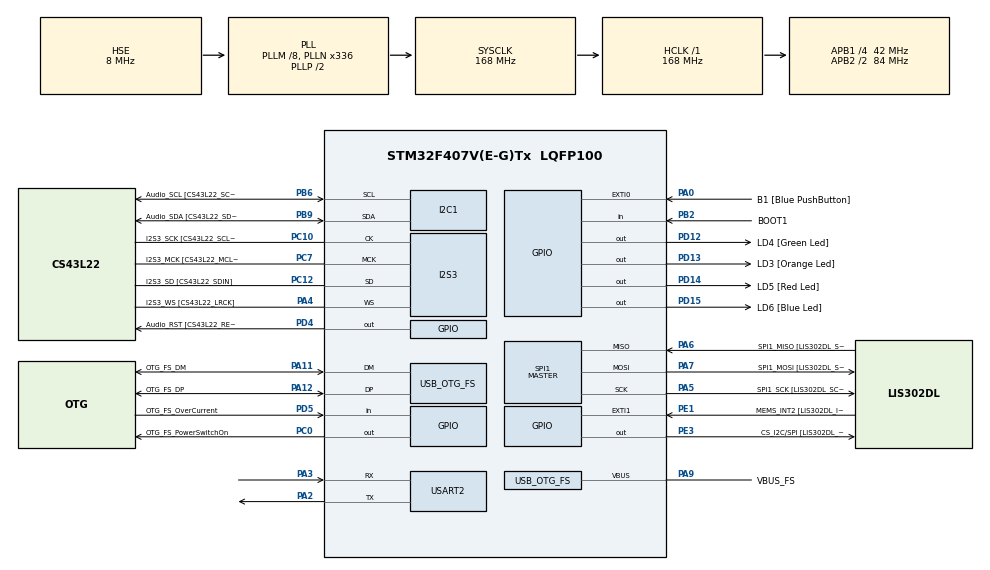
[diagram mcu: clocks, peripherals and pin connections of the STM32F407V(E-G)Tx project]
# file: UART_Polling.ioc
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I2S3.AudioFreq-Half_Duplex_Master=I2S_AUDIOFREQ_96K
I2S3.ErrorAudioFreq=-2.34 %
I2S3.ErrorAudioFreq-Half_Duplex_Master=0.8 %
I2S3.FullDuplexMode=I2S_FULLDUPLEXMODE_DISABLE
I2S3.Instance=SPI$Index
I2S3.RealAudioFreq=93.75 KHz
I2S3.RealAudioFreq-Half_Duplex_Master=96.774 KHz
I2S3.VirtualMode=I2S_MODE_MASTER
Mcu.Family=STM32F4
Mcu.Name=STM32F407V(E-G)Tx
Mcu.Package=LQFP100
NVIC.OTG_FS_IRQn=true\:0\:0\:false\:false\:true\:true\:true
NVIC.PriorityGroup=NVIC_PRIORITYGROUP_0
PA0-WKUP.GPIO_Label=B1 [Blue PushButton]
PA0-WKUP.GPIO_ModeDefaultEXTI=GPIO_MODE_EVT_RISING
PA0-WKUP.GPIO_PuPd=GPIO_NOPULL
PA0-WKUP.Signal=GPXTI0
PA10.GPIO_Label=OTG_FS_ID
PA10.GPIO_Mode=GPIO_MODE_AF_PP
PA10.GPIO_PuPd=GPIO_NOPULL
PA10.GPIO_Speed=GPIO_SPEED_FREQ_LOW
PA10.Signal=USB_OTG_FS_ID
PA11.GPIO_Label=OTG_FS_DM
PA11.GPIO_Mode=GPIO_MODE_AF_PP
PA11.GPIO_PuPd=GPIO_NOPULL
PA11.GPIO_Speed=GPIO_SPEED_FREQ_LOW
PA11.Mode=Host_Only
PA11.Signal=USB_OTG_FS_DM
PA12.GPIO_Label=OTG_FS_DP
PA12.GPIO_Mode=GPIO_MODE_AF_PP
PA12.GPIO_PuPd=GPIO_NOPULL
PA12.GPIO_Speed=GPIO_SPEED_FREQ_LOW
PA12.Mode=Host_Only
PA12.Signal=USB_OTG_FS_DP
PA13.GPIO_Label=SWDIO
PA13.Mode=Serial_Wire
PA13.Signal=SYS_JTMS-SWDIO
PA14.GPIO_Label=SWCLK
PA14.Mode=Serial_Wire
PA14.Signal=SYS_JTCK-SWCLK
PA2.Mode=Asynchronous
PA2.Signal=USART2_TX
PA3.Mode=Asynchronous
PA3.Signal=USART2_RX
PA4.GPIO_Label=I2S3_WS [CS43L22_LRCK]
PA4.GPIO_Mode=GPIO_MODE_AF_PP
PA4.GPIO_PuPd=GPIO_NOPULL
PA4.GPIO_Speed=GPIO_SPEED_FREQ_LOW
PA4.Mode=Half_Duplex_Master
PA4.Signal=I2S3_WS
PA5.GPIO_Label=SPI1_SCK [LIS302DL_SCL/SPC]
PA5.GPIO_Mode=GPIO_MODE_AF_PP
PA5.GPIO_PuPd=GPIO_NOPULL
PA5.GPIO_Speed=GPIO_SPEED_FREQ_LOW
PA5.Mode=Full_Duplex_Master
PA5.Signal=SPI1_SCK
PA6.GPIO_Label=SPI1_MISO [LIS302DL_SDO]
PA6.GPIO_Mode=GPIO_MODE_AF_PP
PA6.GPIO_PuPd=GPIO_NOPULL
PA6.GPIO_Speed=GPIO_SPEED_FREQ_LOW
PA6.Mode=Full_Duplex_Master
PA6.Signal=SPI1_MISO
PA7.GPIO_Label=SPI1_MOSI [LIS302DL_SDA/SDI/SDO]
PA7.GPIO_Mode=GPIO_MODE_AF_PP
PA7.GPIO_PuPd=GPIO_NOPULL
PA7.GPIO_Speed=GPIO_SPEED_FREQ_LOW
PA7.Mode=Full_Duplex_Master
PA7.Signal=SPI1_MOSI
PA9.GPIO_Label=VBUS_FS
PA9.GPIO_Mode=GPIO_MODE_INPUT
PA9.GPIO_PuPd=GPIO_NOPULL
PA9.Mode=Activate_VBUS
PA9.Signal=USB_OTG_FS_VBUS
PB10.GPIO_Label=CLK_IN [MP45DT02_CLK]
PB10.GPIO_Mode=GPIO_MODE_AF_PP
PB10.GPIO_PuPd=GPIO_NOPULL
PB10.GPIO_Speed=GPIO_SPEED_FREQ_LOW
PB10.Signal=I2S2_CK
PB2.GPIO_Label=BOOT1
PB2.GPIO_Mode=GPIO_MODE_INPUT
PB2.GPIO_PuPd=GPIO_NOPULL
PB2.Signal=GPIO_Input
PB3.GPIO_Label=SWO
PB3.Signal=SYS_JTDO-SWO
PB6.GPIO_Label=Audio_SCL [CS43L22_SCL]
PB6.GPIO_Mode=GPIO_MODE_AF_OD
PB6.GPIO_PuPd=GPIO_NOPULL
PB6.GPIO_Speed=GPIO_SPEED_FREQ_LOW
PB6.Mode=I2C
PB6.Signal=I2C1_SCL
PB9.GPIO_Label=Audio_SDA [CS43L22_SDA]
PB9.GPIO_Mode=GPIO_MODE_AF_OD
PB9.GPIO_PuPd=GPIO_NOPULL
PB9.GPIO_Speed=GPIO_SPEED_FREQ_LOW
PB9.Mode=I2C
PB9.Signal=I2C1_SDA
PC0.GPIO_Label=OTG_FS_PowerSwitchOn
PC0.GPIO_PuPd=GPIO_NOPULL
PC0.GPIO_Speed=GPIO_SPEED_FREQ_LOW
PC0.PinState=GPIO_PIN_SET
PC0.Signal=GPIO_Output
PC10.GPIO_Label=I2S3_SCK [CS43L22_SCLK]
PC10.GPIO_Mode=GPIO_MODE_AF_PP
PC10.GPIO_PuPd=GPIO_NOPULL
PC10.GPIO_Speed=GPIO_SPEED_FREQ_LOW
PC10.Mode=Half_Duplex_Master
PC10.Signal=I2S3_CK
PC12.GPIO_Label=I2S3_SD [CS43L22_SDIN]
PC12.GPIO_Mode=GPIO_MODE_AF_PP
PC12.GPIO_PuPd=GPIO_NOPULL
PC12.GPIO_Speed=GPIO_SPEED_FREQ_LOW
PC12.Mode=Half_Duplex_Master
PC12.Signal=I2S3_SD
PC14-OSC32_IN.GPIO_Label=PC14-OSC32_IN
PC14-OSC32_IN.Mode=LSE-External-Oscillator
PC14-OSC32_IN.Signal=RCC_OSC32_IN
PC15-OSC32_OUT.GPIO_Label=PC15-OSC32_OUT
PC15-OSC32_OUT.Mode=LSE-External-Oscillator
PC15-OSC32_OUT.Signal=RCC_OSC32_OUT
PC3.GPIO_Label=PDM_OUT [MP45DT02_DOUT]
PC3.GPIO_Mode=GPIO_MODE_AF_PP
PC3.GPIO_PuPd=GPIO_NOPULL
PC3.GPIO_Speed=GPIO_SPEED_FREQ_LOW
PC3.Signal=I2S2_SD
PC7.GPIO_Label=I2S3_MCK [CS43L22_MCLK]
PC7.GPIO_Mode=GPIO_MODE_AF_PP
PC7.GPIO_PuPd=GPIO_NOPULL
PC7.GPIO_Speed=GPIO_SPEED_FREQ_LOW
PC7.Mode=Master_Clock_Activated
PC7.Signal=I2S3_MCK
PD12.GPIO_Label=LD4 [Green Led]
PD12.GPIO_PuPd=GPIO_NOPULL
PD12.GPIO_Speed=GPIO_SPEED_FREQ_LOW
PD12.Signal=GPIO_Output
PD13.GPIO_Label=LD3 [Orange Led]
PD13.GPIO_PuPd=GPIO_NOPULL
PD13.GPIO_Speed=GPIO_SPEED_FREQ_LOW
PD13.Signal=GPIO_Output
PD14.GPIO_Label=LD5 [Red Led]
PD14.GPIO_PuPd=GPIO_NOPULL
PD14.GPIO_Speed=GPIO_SPEED_FREQ_LOW
PD14.Signal=GPIO_Output
PD15.GPIO_Label=LD6 [Blue Led]
PD15.GPIO_PuPd=GPIO_NOPULL
PD15.GPIO_Speed=GPIO_SPEED_FREQ_LOW
PD15.Signal=GPIO_Output
PD4.GPIO_Label=Audio_RST [CS43L22_RESET]
PD4.GPIO_PuPd=GPIO_NOPULL
PD4.GPIO_Speed=GPIO_SPEED_FREQ_LOW
PD4.Signal=GPIO_Output
PD5.GPIO_Label=OTG_FS_OverCurrent
PD5.GPIO_Mode=GPIO_MODE_INPUT
PD5.GPIO_PuPd=GPIO_NOPULL
PD5.Signal=GPIO_Input
PE1.GPIO_Label=MEMS_INT2 [LIS302DL_INT2]
PE1.GPIO_ModeDefaultEXTI=GPIO_MODE_EVT_RISING
PE1.GPIO_PuPd=GPIO_NOPULL
PE1.Signal=GPXTI1
PE3.GPIO_Label=CS_I2C/SPI [LIS302DL_CS_I2C/SPI]
PE3.GPIO_PuPd=GPIO_NOPULL
PE3.GPIO_Speed=GPIO_SPEED_FREQ_LOW
PE3.Signal=GPIO_Output
PH0-OSC_IN.GPIO_Label=PH0-OSC_IN
PH0-OSC_IN.Mode=HSE-External-Oscillator
PH0-OSC_IN.Signal=RCC_OSC_IN
PH1-OSC_OUT.GPIO_Label=PH1-OSC_OUT
PH1-OSC_OUT.Mode=HSE-External-Oscillator
PH1-OSC_OUT.Signal=RCC_OSC_OUT
ProjectManager.HeapSize=0x200
ProjectManager.StackSize=0x400
ProjectManager.TargetToolchain=TrueSTUDIO
RCC.48MHZClocksFreq_Value=48000000
RCC.AHBFreq_Value=168000000
RCC.APB1CLKDivider=RCC_HCLK_DIV4
RCC.APB1Freq_Value=42000000
RCC.APB1TimFreq_Value=84000000
RCC.APB2CLKDivider=RCC_HCLK_DIV2
RCC.APB2Freq_Value=84000000
RCC.APB2TimFreq_Value=168000000
RCC.CortexFreq_Value=168000000
RCC.HCLKFreq_Value=168000000
RCC.HSE_VALUE=8000000
RCC.HSI_VALUE=16000000
RCC.PLLM=8
RCC.PLLN=336
RCC.PLLQ=7
RCC.SYSCLKFreq_VALUE=168000000
RCC.SYSCLKSource=RCC_SYSCLKSOURCE_PLLCLK
RCC.VCOOutputFreq_Value=336000000
SPI1.BaudRatePrescaler-Full_Duplex_Master=SPI_BAUDRATEPRESCALER_2
SPI1.CalculateBaudRate-Full_Duplex_Master=42.0 MBits/s
SPI1.Direction=SPI_DIRECTION_2LINES
SPI1.Mode=SPI_MODE_MASTER
SPI1.Mode-Full_Duplex_Master=SPI_MODE_MASTER
SPI1.VirtualType=VM_MASTER
USART2.VirtualMode=VM_ASYNC
USB_HOST.BSP.number=1
USB_HOST.USBH_HandleTypeDef-CDC_FS=hUsbHostFS
USB_HOST.VirtualModeFS=Cdc
USB_HOST0.BSP.STBoard=false
USB_HOST0.BSP.api=Unknown
USB_HOST0.BSP.i2caddr=0
USB_HOST0.BSP.i2creg=0
USB_HOST0.BSP.instance=PC0
USB_HOST0.BSP.ip=GPIO
USB_HOST0.BSP.mode=Output
USB_HOST0.BSP.name=Drive_VBUS_FS
USB_HOST0.BSP.solution=PC0
USB_OTG_FS.VirtualMode=Host_Only
USB_OTG_FS.phy_itface=HCD_PHY_EMBEDDED
VP_USB_HOST_VS_USB_HOST_CDC_FS.Mode=CDC_FS
board=STM32F407G-DISC1

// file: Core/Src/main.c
/* USER CODE BEGIN Header */
/**
  ******************************************************************************
  * @file           : main.c
  * @brief          : Main program body
  ******************************************************************************
  * @attention
  *
  * <h2><center>&copy; Copyright (c) 2020 STMicroelectronics.
  * All rights reserved.</center></h2>
  *
  * This software component is licensed by ST under Ultimate Liberty license
  * SLA0044, the "License"; You may not use this file except in compliance with
  * the License. You may obtain a copy of the License at:
  *                             www.st.com/SLA0044
  *
  ******************************************************************************
  */
/* USER CODE END Header */
#include "main.h"
#include "i2c.h"
#include "i2s.h"
#include "spi.h"
#include "usart.h"
#include "usb_host.h"
#include "gpio.h"

/* USER CODE BEGIN PM */
#define	MAX_SIZE	100
#define	int2char(i)	((char)(i+(int)'0'))
/* USER CODE END PM */

void SystemClock_Config(void);
void MX_USB_HOST_Process(void);

int main(void)
{
  /* USER CODE BEGIN 1 */
  int	cnt;
  /* USER CODE END 1 */

  /* MCU Configuration--------------------------------------------------------*/

  /* Reset of all peripherals, Initializes the Flash interface and the Systick. */
  HAL_Init();

  /* Configure the system clock */
  SystemClock_Config();

  /* Initialize all configured peripherals */
  MX_GPIO_Init();
  MX_I2C1_Init();
  MX_I2S3_Init();
  MX_SPI1_Init();
  MX_USB_HOST_Init();
  MX_USART2_UART_Init();
  /* USER CODE BEGIN 2 */
  HAL_GPIO_WritePin(GPIOD,GPIO_PIN_12,SET);
  HAL_GPIO_WritePin(GPIOD,GPIO_PIN_13,SET);
  HAL_GPIO_WritePin(GPIOD,GPIO_PIN_14,SET);
  HAL_GPIO_WritePin(GPIOD,GPIO_PIN_15,SET);
  /* USER CODE END 2 */

  /* Infinite loop */
  /* USER CODE BEGIN WHILE */
  cnt = 1;

  while (1)
  {
	/*
	HAL_GPIO_WritePin(GPIOD,GPIO_PIN_12,SET);
	HAL_GPIO_WritePin(GPIOD,GPIO_PIN_13,SET);
	HAL_GPIO_WritePin(GPIOD,GPIO_PIN_14,SET);
	HAL_GPIO_WritePin(GPIOD,GPIO_PIN_15,SET);

	HAL_Delay(500);

	HAL_GPIO_WritePin(GPIOD,GPIO_PIN_12,RESET);
	HAL_GPIO_WritePin(GPIOD,GPIO_PIN_13,RESET);
	HAL_GPIO_WritePin(GPIOD,GPIO_PIN_14,RESET);
	HAL_GPIO_WritePin(GPIOD,GPIO_PIN_15,RESET);

	HAL_Delay(500);
	*/
	int		ptr;
	char	buf[MAX_SIZE];

	buf[0] = ' ';
	ptr = 1;

	for(int n=cnt;n>0;n/=10)
	{
		int	d;

		d = n%10;
		buf[ptr++] = int2char(d);
	}

	for(int i=ptr-1;i>=0;i--)
	{
		HAL_UART_Transmit(&huart2,&buf[i],1,10);
	}

	HAL_Delay(1000);
	cnt++;
    /* USER CODE END WHILE */
    MX_USB_HOST_Process();

  }
}

void SystemClock_Config(void)
{
  RCC_OscInitTypeDef RCC_OscInitStruct = {0};
  RCC_ClkInitTypeDef RCC_ClkInitStruct = {0};
  RCC_PeriphCLKInitTypeDef PeriphClkInitStruct = {0};

  /** Configure the main internal regulator output voltage
  */
  __HAL_RCC_PWR_CLK_ENABLE();
  __HAL_PWR_VOLTAGESCALING_CONFIG(PWR_REGULATOR_VOLTAGE_SCALE1);
  /** Initializes the RCC Oscillators according to the specified parameters
  * in the RCC_OscInitTypeDef structure.
  */
  RCC_OscInitStruct.OscillatorType = RCC_OSCILLATORTYPE_HSE;
  RCC_OscInitStruct.HSEState = RCC_HSE_ON;
  RCC_OscInitStruct.PLL.PLLState = RCC_PLL_ON;
  RCC_OscInitStruct.PLL.PLLSource = RCC_PLLSOURCE_HSE;
  RCC_OscInitStruct.PLL.PLLM = 8;
  RCC_OscInitStruct.PLL.PLLN = 336;
  RCC_OscInitStruct.PLL.PLLP = RCC_PLLP_DIV2;
  RCC_OscInitStruct.PLL.PLLQ = 7;
  if (HAL_RCC_OscConfig(&RCC_OscInitStruct) != HAL_OK)
  {
    Error_Handler();
  }
  /** Initializes the CPU, AHB and APB buses clocks
  */
  RCC_ClkInitStruct.ClockType = RCC_CLOCKTYPE_HCLK|RCC_CLOCKTYPE_SYSCLK
                              |RCC_CLOCKTYPE_PCLK1|RCC_CLOCKTYPE_PCLK2;
  RCC_ClkInitStruct.SYSCLKSource = RCC_SYSCLKSOURCE_PLLCLK;
  RCC_ClkInitStruct.AHBCLKDivider = RCC_SYSCLK_DIV1;
  RCC_ClkInitStruct.APB1CLKDivider = RCC_HCLK_DIV4;
  RCC_ClkInitStruct.APB2CLKDivider = RCC_HCLK_DIV2;

  if (HAL_RCC_ClockConfig(&RCC_ClkInitStruct, FLASH_LATENCY_5) != HAL_OK)
  {
    Error_Handler();
  }
  PeriphClkInitStruct.PeriphClockSelection = RCC_PERIPHCLK_I2S;
  PeriphClkInitStruct.PLLI2S.PLLI2SN = 192;
  PeriphClkInitStruct.PLLI2S.PLLI2SR = 2;
  if (HAL_RCCEx_PeriphCLKConfig(&PeriphClkInitStruct) != HAL_OK)
  {
    Error_Handler();
  }
}

void Error_Handler(void)
{
}

/************************ (C) COPYRIGHT STMicroelectronics *****END OF FILE****/
